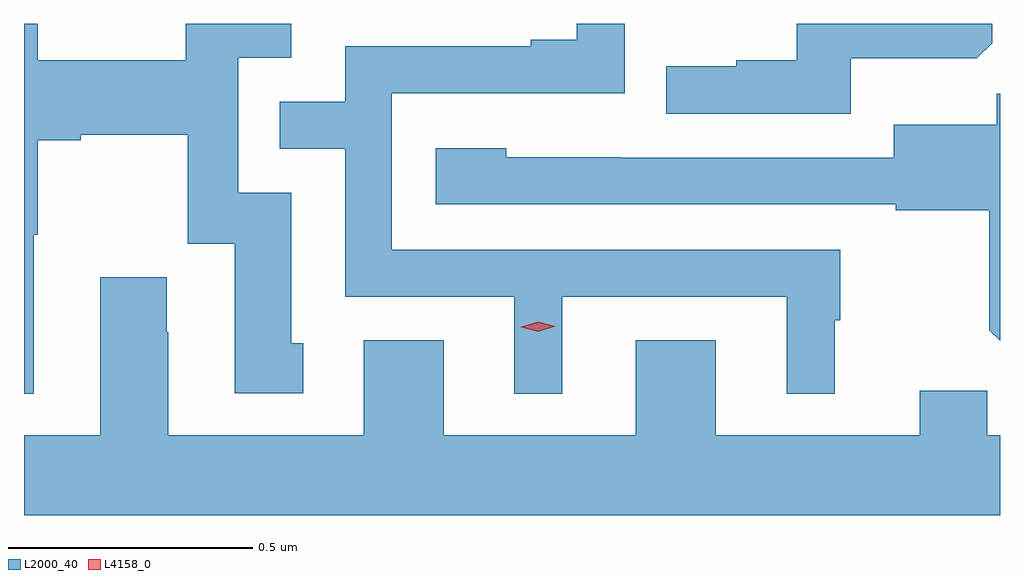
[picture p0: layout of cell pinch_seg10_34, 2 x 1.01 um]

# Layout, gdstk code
import gdstk
lib = gdstk.Library(unit=1e-6, precision=1e-09)
def P(c, l, *ps):  # polygons
    for p in ps: c.add(gdstk.Polygon(p, *l))
L2000_40 = (2000, 40)
L4158_0 = (4158, 0)

pinch_seg10_34 = lib.new_cell('pinch_seg10_34')
P(pinch_seg10_34, L2000_40, [(919.381,1301.252),(919.639,1301.252),(919.671,1301.283),(919.671,1301.323),(919.271,1301.323),(919.271,1301.248),(919.147,1301.248),(919.147,1301.236),(919.003,1301.236),(919.003,1301.139),(919.381,1301.139)],
  [(918.79,1300.764),(919.25,1300.764),(919.25,1300.565),(919.348,1300.565),(919.348,1300.716),(919.36,1300.716),(919.36,1300.86),(918.441,1300.86),(918.441,1301.181),(918.918,1301.181),(918.918,1301.323),(918.82,1301.323),(918.82,1301.29),(918.725,1301.29),(918.725,1301.277),(918.345,1301.277),(918.345,1301.163),(918.211,1301.163),(918.211,1301.067),(918.345,1301.067),(918.345,1300.764),(918.692,1300.764),(918.692,1300.565),(918.79,1300.565)],
  [(917.707,1300.891),(917.715,1300.891),(917.715,1301.084),(917.803,1301.084),(917.803,1301.096),(918.023,1301.096),(918.023,1300.872),(918.119,1300.872),(918.119,1300.566),(918.259,1300.566),(918.259,1300.668),(918.235,1300.668),(918.235,1300.977),(918.126,1300.977),(918.126,1301.253),(918.235,1301.253),(918.235,1301.323),(918.018,1301.323),(918.018,1301.248),(917.715,1301.248),(917.715,1301.323),(917.687,1301.323),(917.687,1300.565),(917.707,1300.565)],
  [(919.687,1301.18),(919.68,1301.18),(919.68,1301.116),(919.469,1301.116),(919.469,1301.049),(918.911,1301.049),(918.911,1301.05),(918.675,1301.05),(918.675,1301.068),(918.531,1301.068),(918.531,1300.953),(919.473,1300.953),(919.473,1300.941),(919.665,1300.941),(919.665,1300.695),(919.687,1300.673)],
  [(917.843,1300.804),(917.843,1300.48),(917.687,1300.48),(917.687,1300.316),(919.687,1300.316),(919.687,1300.48),(919.661,1300.48),(919.661,1300.571),(919.523,1300.571),(919.523,1300.48),(919.105,1300.48),(919.105,1300.675),(918.941,1300.675),(918.941,1300.48),(918.547,1300.48),(918.547,1300.675),(918.383,1300.675),(918.383,1300.48),(917.983,1300.48),(917.983,1300.691),(917.98,1300.691),(917.98,1300.804)])
P(pinch_seg10_34, L4158_0, [(918.741,1300.692),(918.706,1300.701),(918.705,1300.701),(918.706,1300.702),(918.741,1300.712),(918.776,1300.703),(918.777,1300.703),(918.776,1300.703)])

lib.write_gds('pinch_seg10_34.gds')
